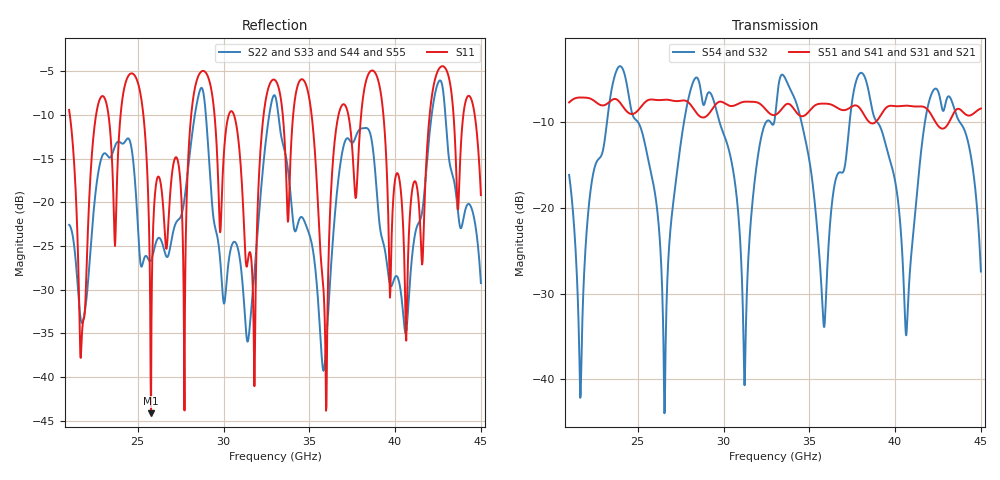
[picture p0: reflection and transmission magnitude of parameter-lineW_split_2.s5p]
! Created Mon Jun 10 12:49:48 2024
# hz S ma R 50
! 5 Port Network Data from SP1.SP block
! freq  magS11  angS11  magS12  angS12  magS13  angS13  magS14  angS14
!  magS15  angS15
!  magS21  angS21  magS22  angS22  magS23  angS23
!  magS24  angS24  magS25  angS25
!  magS31  angS31  magS32  angS32
!  magS33  angS33  magS34  angS34  magS35  angS35
!  magS41  angS41
!  magS42  angS42  magS43  angS43  magS44  angS44  magS45  angS45
!  magS51  angS51  magS52  angS52  magS53  angS53  magS54  angS54
!  magS55  angS55
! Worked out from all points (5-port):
!   961 points, 21 GHz to 45 GHz, reference 50 ohm
!   strongest paths, dB at 21 GHz, 27 GHz, 33 GHz, 39 GHz, 45 GHz:
!     S51: -7.7, -7.4, -9.1, -9.7, -8.4
!     S41: -7.7, -7.4, -9.1, -9.7, -8.4
!     S31: -7.7, -7.4, -9.1, -9.7, -8.4
!     S21: -7.7, -7.4, -9.1, -9.7, -8.4
!     S54: -16.1, -20.6, -9.4, -10.1, -27.4
!     S32: -16.1, -20.6, -9.4, -10.1, -27.4
!   lowest |S11| = -44.2 dB at 25.77 GHz (marker M1), VSWR 1.01, Z = 50.1 - j0.608 ohm
!   |S11| at or under -10 dB: 25.33 GHz to 28.12 GHz (2.789 GHz wide, 10.4 % of centre); 30.61 GHz to 32.33 GHz (1.728 GHz wide, 5.49 % of centre); 39.32 GHz to 42.01 GHz (2.697 GHz wide, 6.63 % of centre)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
